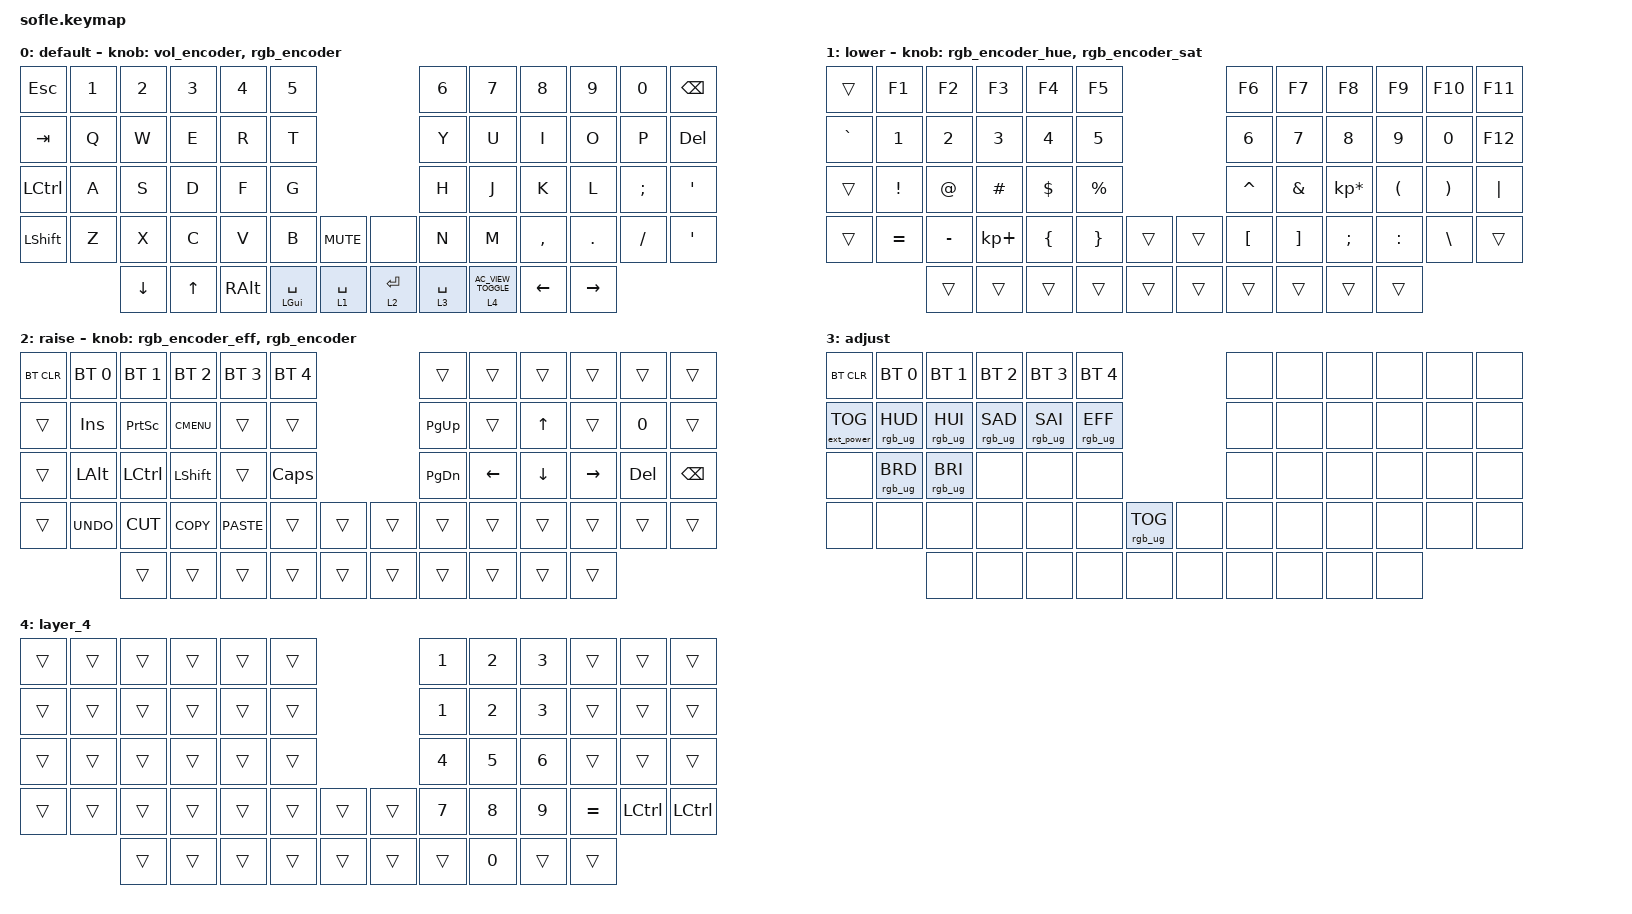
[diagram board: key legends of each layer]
/*
 * Copyright (c) 2020 The ZMK Contributors
 *
 * SPDX-License-Identifier: MIT
 */

#include <behaviors.dtsi>
#include <dt-bindings/zmk/bt.h>
#include <dt-bindings/zmk/ext_power.h>
#include <dt-bindings/zmk/keys.h>
#include <dt-bindings/zmk/rgb.h>

#define BASE 0
#define LOWER 1
#define RAISE 2
#define ADJUST 3

/ {
    behaviors {
        inc_dec_cp: inc_dec_cp {
            compatible = "zmk,behavior-sensor-rotate-key-press";
            label = "ENCODER_CONFIG";
            #sensor-binding-cells = <2>;
            bindings = <&kp>, <&rgb_ug>;
        };

        rgb_encoder: rgb_encoder {
            compatible = "zmk,behavior-sensor-rotate";
            #sensor-binding-cells = <0>;
            bindings = <&rgb_ug RGB_BRI>, <&rgb_ug RGB_BRD>;
        };

        vol_encoder: vol_encoder {
            compatible = "zmk,behavior-sensor-rotate";
            #sensor-binding-cells = <0>;
            bindings = <&kp C_VOL_UP>, <&kp C_VOL_DN>;
        };

        // Add layer-specific RGB behaviors

        rgb_layer_default: rgb_layer_default {
            compatible = "zmk,behavior-macro";
            #binding-cells = <0>;
            bindings = <&rgb_ug RGB_COLOR_HSB(0,100,100)>;  // Red for default layer
        };

        rgb_layer_lower: rgb_layer_lower {
            compatible = "zmk,behavior-macro";
            #binding-cells = <0>;
            bindings = <&rgb_ug RGB_COLOR_HSB(120,100,100)>;  // Green for lower layer
        };

        rgb_layer_raise: rgb_layer_raise {
            compatible = "zmk,behavior-macro";
            #binding-cells = <0>;
            bindings = <&rgb_ug RGB_COLOR_HSB(240,100,100)>;  // Blue for raise layer
        };

        rgb_layer_adjust: rgb_layer_adjust {
            compatible = "zmk,behavior-macro";
            #binding-cells = <0>;
            bindings = <&rgb_ug RGB_COLOR_HSB(280,100,100)>;  // Purple for adjust layer
        };
    };

    // Activate ADJUST layer by pressing raise and lower

    conditional_layers {
        compatible = "zmk,conditional-layers";

        adjust_layer {
            if-layers = <LOWER RAISE>;
            then-layer = <ADJUST>;
        };
    };

    macros {
    };

    keymap {
        compatible = "zmk,keymap";

        default_layer {
            label = "default";

            // ------------------------------------------------------------------------------------------------------------
            // |   `   |  1  |  2  |  3   |  4   |  5   |                   |  6   |  7    |  8    |  9   |   0   |       |
            // |  ESC  |  Q  |  W  |  E   |  R   |  T   |                   |  Y   |  U    |  I    |  O   |   P   | BKSPC |
            // |  TAB  |  A  |  S  |  D   |  F   |  G   |                   |  H   |  J    |  K    |  L   |   ;   |   '   |
            // | SHIFT |  Z  |  X  |  C   |  V   |  B   |  MUTE  |  |       |  N   |  M    |  ,    |  .   |   /   | SHIFT |
            //               | GUI | ALT  | CTRL | LOWER|  ENTER |  | SPACE | RAISE| CTRL  | ALT   | GUI  |

            bindings = <
&kp ESC    &kp N1  &kp N2          &kp N3        &kp N4    &kp N5                                           &kp N6       &kp N7                  &kp N8          &kp N9     &kp N0    &kp BACKSPACE
&kp TAB    &kp Q   &kp W           &kp E         &kp R     &kp T                                            &kp Y        &kp U                   &kp I           &kp O      &kp P     &kp DEL
&kp LCTRL  &kp A   &kp S           &kp D         &kp F     &kp G                                            &kp H        &kp J                   &kp K           &kp L      &kp SEMI  &kp SQT
&kp LSHFT  &kp Z   &kp X           &kp C         &kp V     &kp B               &kp C_MUTE     &none         &kp N        &kp M                   &kp COMMA       &kp DOT    &kp FSLH  &kp APOS
                   &kp DOWN_ARROW  &kp UP_ARROW  &kp RALT  &mt LEFT_GUI SPACE  &lt 1 SPACE    &lt 2 RETURN  &lt 3 SPACE  &lt 4 C_AC_VIEW_TOGGLE  &kp LEFT_ARROW  &kp RIGHT
            >;

            sensor-bindings = <
                &vol_encoder
                &rgb_encoder
            >;
        };

        lower_layer {
            label = "lower";

            // TODO: Some binds are waiting for shifted keycode support.
            // ------------------------------------------------------------------------------------------------------------
            // |       |  F1 |  F2 |  F3  |  F4  |  F5  |                   |  F6  |  F7   |  F8   |  F9  |  F10  |  F11  |
            // |   `   |  1  |  2  |  3   |  4   |  5   |                   |  6   |  7    |  8    |  9   |   0   |  F12  |
            // |       |  !  |  @  |  #   |  $   |  %   |                   |  ^   |  &    |  *    |  (   |   )   |   |   |
            // |       |  =  |  -  |  +   |  {   |  }   |        |  |       |  [   |  ]    |  ;    |  :   |   \   |       |
            //               |     |      |      |      |        |  |       |      |       |       |      |

            bindings = <
&trans     &kp F1     &kp F2     &kp F3       &kp F4    &kp F5                       &kp F6     &kp F7    &kp F8           &kp F9     &kp F10   &kp F11
&kp GRAVE  &kp N1     &kp N2     &kp N3       &kp N4    &kp N5                       &kp N6     &kp N7    &kp N8           &kp N9     &kp N0    &kp F12
&trans     &kp EXCL   &kp AT     &kp HASH     &kp DLLR  &kp PRCNT                    &kp CARET  &kp AMPS  &kp KP_MULTIPLY  &kp LPAR   &kp RPAR  &kp PIPE
&trans     &kp EQUAL  &kp MINUS  &kp KP_PLUS  &kp LBRC  &kp RBRC   &trans    &trans  &kp LBKT   &kp RBKT  &kp SEMI         &kp COLON  &kp BSLH  &trans
                      &trans     &trans       &trans    &trans     &trans    &trans  &trans     &trans    &trans           &trans
            >;

            sensor-bindings = <
                &rgb_encoder_hue
                &rgb_encoder_sat
            >;
        };

        raise_layer {
            label = "raise";

            // ------------------------------------------------------------------------------------------------------------
            // | BTCLR | BT1  | BT2  |  BT3  |  BT4  |  BT5 |                |      |      |       |      |       |       |
            // |       | INS  | PSCR | GUI   |       |      |                | PGUP |      |   ^   |      |       |       |
            // |       | ALT  | CTRL | SHIFT |       | CAPS |                | PGDN |   <- |   v   |  ->  |  DEL  | BKSPC |
            // |       | UNDO | CUT  | COPY  | PASTE |      |      |  |      |      |      |       |      |       |       |
            //                |      |       |       |      |      |  |      |      |      |       |      |

            bindings = <
&bt BT_CLR  &bt BT_SEL 0  &bt BT_SEL 1  &bt BT_SEL 2  &bt BT_SEL 3  &bt BT_SEL 4                    &trans     &trans    &trans    &trans     &trans   &trans
&trans      &kp INS       &kp PSCRN     &kp K_CMENU   &trans        &trans                          &kp PG_UP  &trans    &kp UP    &trans     &kp N0   &trans
&trans      &kp LALT      &kp LCTRL     &kp LSHFT     &trans        &kp CLCK                        &kp PG_DN  &kp LEFT  &kp DOWN  &kp RIGHT  &kp DEL  &kp BSPC
&trans      &kp K_UNDO    &kp K_CUT     &kp K_COPY    &kp K_PASTE   &trans        &trans    &trans  &trans     &trans    &trans    &trans     &trans   &trans
                          &trans        &trans        &trans        &trans        &trans    &trans  &trans     &trans    &trans    &trans
            >;

            sensor-bindings = <
                &rgb_encoder_eff
                &rgb_encoder
            >;
        };

        adjust_layer {
            // ----------------------------------------------------------------------------------------------------------------------------
            // | BTCLR  |  BT1    |  BT2    |   BT3   |   BT4   |   BT5   |                  |      |      |       |      |       |       |
            // | EXTPWR | RGB_HUD | RGB_HUI | RGB_SAD | RGB_SAI | RGB_EFF |                  |      |      |       |      |       |       |
            // |        | RGB_BRD | RGB_BRI |         |         |         |                  |      |      |       |      |       |       |
            // |        |         |         |         |         |         | RGB_TOG | |      |      |      |       |      |       |       |
            //                    |         |         |         |         |         | |      |      |      |       |      |

            label = "adjust";
            bindings = <
&bt BT_CLR         &bt BT_SEL 0     &bt BT_SEL 1     &bt BT_SEL 2     &bt BT_SEL 3     &bt BT_SEL 4                               &none  &none  &none  &none  &none  &none
&ext_power EP_TOG  &rgb_ug RGB_HUD  &rgb_ug RGB_HUI  &rgb_ug RGB_SAD  &rgb_ug RGB_SAI  &rgb_ug RGB_EFF                            &none  &none  &none  &none  &none  &none
&none              &rgb_ug RGB_BRD  &rgb_ug RGB_BRI  &none            &none            &none                                      &none  &none  &none  &none  &none  &none
&none              &none            &none            &none            &none            &none            &rgb_ug RGB_TOG    &none  &none  &none  &none  &none  &none  &none
                                    &none            &none            &none            &none            &none              &none  &none  &none  &none  &none
            >;
        };

        layer_4 {
            bindings = <
&trans  &trans  &trans  &trans  &trans  &trans                    &kp NUMBER_1  &kp N2  &kp N3  &trans     &trans     &trans
&trans  &trans  &trans  &trans  &trans  &trans                    &kp N1        &kp N2  &kp N3  &trans     &trans     &trans
&trans  &trans  &trans  &trans  &trans  &trans                    &kp N4        &kp N5  &kp N6  &trans     &trans     &trans
&trans  &trans  &trans  &trans  &trans  &trans  &trans    &trans  &kp N7        &kp N8  &kp N9  &kp EQUAL  &kp LCTRL  &kp LCTRL
                &trans  &trans  &trans  &trans  &trans    &trans  &trans        &kp N0  &trans  &trans
            >;
        };

        extra1 { status = "reserved"; };

        extra2 { status = "reserved"; };

        extra3 { status = "reserved"; };

        extra4 { status = "reserved"; };
    };

    behaviors {
        rgb_encoder_hue: rgb_encoder_hue {
            compatible = "zmk,behavior-sensor-rotate";
            #sensor-binding-cells = <0>;
            bindings = <&rgb_ug RGB_HUI>, <&rgb_ug RGB_HUD>;
        };

        rgb_encoder_sat: rgb_encoder_sat {
            compatible = "zmk,behavior-sensor-rotate";
            #sensor-binding-cells = <0>;
            bindings = <&rgb_ug RGB_SAI>, <&rgb_ug RGB_SAD>;
        };

        rgb_encoder_eff: rgb_encoder_eff {
            compatible = "zmk,behavior-sensor-rotate";
            #sensor-binding-cells = <0>;
            bindings = <&rgb_ug RGB_EFF>, <&rgb_ug RGB_EFR>;
        };
    };
};
